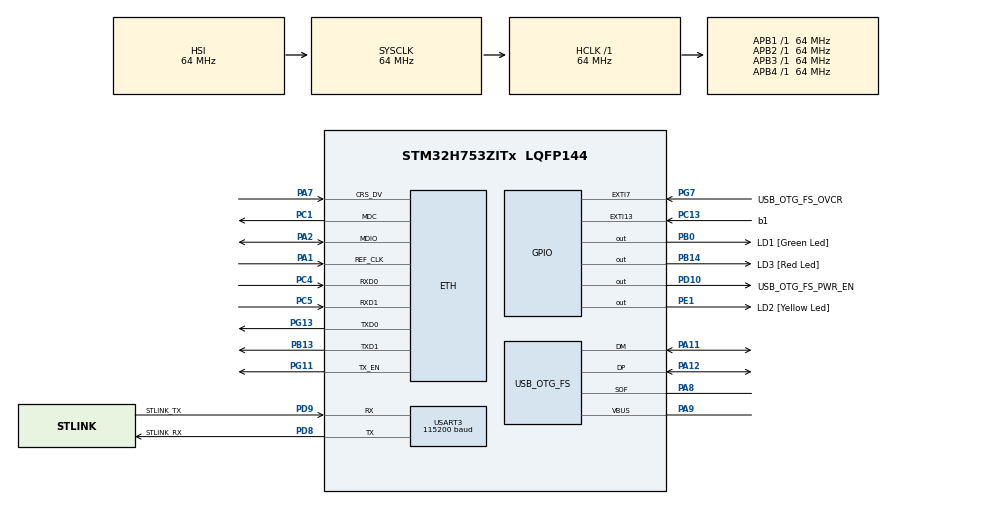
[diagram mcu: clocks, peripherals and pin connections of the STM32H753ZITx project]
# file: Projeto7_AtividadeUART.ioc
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CORTEX_M7.CPU_DCache=Disabled
CORTEX_M7.CPU_ICache=Disabled
CORTEX_M7.MPU_Control=__NULL
Dma.Request0=USART3_RX
Dma.Request1=USART3_TX
Dma.USART3_RX.0.Direction=DMA_PERIPH_TO_MEMORY
Dma.USART3_RX.0.EventEnable=DISABLE
Dma.USART3_RX.0.FIFOMode=DMA_FIFOMODE_DISABLE
Dma.USART3_RX.0.Instance=DMA1_Stream0
Dma.USART3_RX.0.MemDataAlignment=DMA_MDATAALIGN_BYTE
Dma.USART3_RX.0.MemInc=DMA_MINC_ENABLE
Dma.USART3_RX.0.Mode=DMA_NORMAL
Dma.USART3_RX.0.PeriphDataAlignment=DMA_PDATAALIGN_BYTE
Dma.USART3_RX.0.PeriphInc=DMA_PINC_DISABLE
Dma.USART3_RX.0.Polarity=HAL_DMAMUX_REQ_GEN_RISING
Dma.USART3_RX.0.Priority=DMA_PRIORITY_LOW
Dma.USART3_RX.0.RequestNumber=1
Dma.USART3_RX.0.SignalID=NONE
Dma.USART3_RX.0.SyncEnable=DISABLE
Dma.USART3_RX.0.SyncPolarity=HAL_DMAMUX_SYNC_NO_EVENT
Dma.USART3_RX.0.SyncRequestNumber=1
Dma.USART3_RX.0.SyncSignalID=NONE
Dma.USART3_TX.1.Direction=DMA_MEMORY_TO_PERIPH
Dma.USART3_TX.1.EventEnable=DISABLE
Dma.USART3_TX.1.FIFOMode=DMA_FIFOMODE_DISABLE
Dma.USART3_TX.1.Instance=DMA1_Stream1
Dma.USART3_TX.1.MemDataAlignment=DMA_MDATAALIGN_BYTE
Dma.USART3_TX.1.MemInc=DMA_MINC_ENABLE
Dma.USART3_TX.1.Mode=DMA_NORMAL
Dma.USART3_TX.1.PeriphDataAlignment=DMA_PDATAALIGN_BYTE
Dma.USART3_TX.1.PeriphInc=DMA_PINC_DISABLE
Dma.USART3_TX.1.Polarity=HAL_DMAMUX_REQ_GEN_RISING
Dma.USART3_TX.1.Priority=DMA_PRIORITY_LOW
Dma.USART3_TX.1.RequestNumber=1
Dma.USART3_TX.1.SignalID=NONE
Dma.USART3_TX.1.SyncEnable=DISABLE
Dma.USART3_TX.1.SyncPolarity=HAL_DMAMUX_SYNC_NO_EVENT
Dma.USART3_TX.1.SyncRequestNumber=1
Dma.USART3_TX.1.SyncSignalID=NONE
ETH.ETH_RX_DESC_CNT=4
ETH.ETH_TX_DESC_CNT=4
ETH.MACAddr=00\:80\:E1\:00\:00\:00
ETH.MediaInterface=HAL_ETH_RMII_MODE
ETH.RxBuffAddress=0x30040200
ETH.RxBuffLen=1524
ETH.RxDescAddress=0x30040000
ETH.TxDescAddress=0x30040060
Mcu.Family=STM32H7
Mcu.Name=STM32H753ZITx
Mcu.Package=LQFP144
NVIC.DMA1_Stream0_IRQn=true\:0\:0\:false\:false\:true\:false\:true\:true
NVIC.DMA1_Stream1_IRQn=true\:0\:0\:false\:false\:true\:false\:true\:true
NVIC.EXTI15_10_IRQn=true\:0\:0\:false\:false\:true\:true\:true\:true
NVIC.PriorityGroup=NVIC_PRIORITYGROUP_4
NVIC.USART3_IRQn=true\:0\:0\:false\:false\:true\:true\:true\:true
PA1.Mode=RMII
PA1.Signal=ETH_REF_CLK
PA11.Mode=Device_Only
PA11.Signal=USB_OTG_FS_DM
PA12.Mode=Device_Only
PA12.Signal=USB_OTG_FS_DP
PA2.Mode=RMII
PA2.Signal=ETH_MDIO
PA7.Mode=RMII
PA7.Signal=ETH_CRS_DV
PA8.Mode=Activate_SOF_FS
PA8.Signal=USB_OTG_FS_SOF
PA9.Mode=Activate_VBUS
PA9.Signal=USB_OTG_FS_VBUS
PB0.GPIO_Label=LD1 [Green Led]
PB0.Signal=GPIO_Output
PB13.Mode=RMII
PB13.Signal=ETH_TXD1
PB14.GPIO_Label=LD3 [Red Led]
PB14.Signal=GPIO_Output
PC1.Mode=RMII
PC1.Signal=ETH_MDC
PC13.GPIO_Label=b1
PC13.Signal=GPXTI13
PC14-OSC32_IN\ (OSC32_IN).Mode=LSE-External-Oscillator
PC14-OSC32_IN\ (OSC32_IN).Signal=RCC_OSC32_IN
PC15-OSC32_OUT\ (OSC32_OUT).Mode=LSE-External-Oscillator
PC15-OSC32_OUT\ (OSC32_OUT).Signal=RCC_OSC32_OUT
PC4.Mode=RMII
PC4.Signal=ETH_RXD0
PC5.Mode=RMII
PC5.Signal=ETH_RXD1
PD10.GPIO_Label=USB_OTG_FS_PWR_EN
PD10.Signal=GPIO_Output
PD8.GPIO_Label=STLINK_RX
PD8.Mode=Asynchronous
PD8.Signal=USART3_TX
PD9.GPIO_Label=STLINK_TX
PD9.Mode=Asynchronous
PD9.Signal=USART3_RX
PE1.GPIO_Label=LD2 [Yellow Led]
PE1.Signal=GPIO_Output
PG11.Mode=RMII
PG11.Signal=ETH_TX_EN
PG13.Mode=RMII
PG13.Signal=ETH_TXD0
PG7.GPIO_Label=USB_OTG_FS_OVCR
PG7.Signal=GPXTI7
PH0-OSC_IN\ (PH0).Mode=HSE-External-Clock-Source
PH0-OSC_IN\ (PH0).Signal=RCC_OSC_IN
PH1-OSC_OUT\ (PH1).Signal=RCC_OSC_OUT
ProjectManager.HeapSize=0x200
ProjectManager.StackSize=0x400
ProjectManager.TargetToolchain=STM32CubeIDE
RCC.ADCFreq_Value=16125000
RCC.APB1Freq_Value=64000000
RCC.APB2Freq_Value=64000000
RCC.APB3Freq_Value=64000000
RCC.APB4Freq_Value=64000000
RCC.CortexFreq_Value=64000000
RCC.DIVM1=1
RCC.DIVN1=24
RCC.DIVQ1=4
RCC.HCLKFreq_Value=64000000
RCC.HSE_VALUE=8000000
RCC.PLLFRACN=0
RCC.PWR_Regulator_Voltage_Scale=PWR_REGULATOR_VOLTAGE_SCALE2
RCC.SYSCLKFreq_VALUE=64000000
RCC.USBFreq_Value=48000000
USART3.AutoBaudRateEnableParam=UART_ADVFEATURE_AUTOBAUDRATE_DISABLE
USART3.BaudRate=115200
USART3.ClockPrescaler=PRESCALER_DIV1
USART3.DMADisableonRxErrorParam=ADVFEATURE_DMA_ENABLEONRXERROR
USART3.DataInvertParam=ADVFEATURE_DATAINV_DISABLE
USART3.FIFOMode=FIFOMODE_DISABLE
USART3.MSBFirstParam=ADVFEATURE_MSBFIRST_DISABLE
USART3.Mode=MODE_TX_RX
USART3.OneBitSampling=UART_ONE_BIT_SAMPLE_DISABLE
USART3.OverSampling=UART_OVERSAMPLING_16
USART3.OverrunDisableParam=ADVFEATURE_OVERRUN_ENABLE
USART3.Parity=PARITY_NONE
USART3.RXFIFOThreshold=RXFIFO_THRESHOLD_1EIGHTHFULL
USART3.RxPinLevelInvertParam=ADVFEATURE_RXINV_DISABLE
USART3.StopBits=STOPBITS_1
USART3.SwapParam=ADVFEATURE_SWAP_DISABLE
USART3.TXFIFOThreshold=TXFIFO_THRESHOLD_1EIGHTHFULL
USART3.TxPinLevelInvertParam=ADVFEATURE_TXINV_DISABLE
USART3.VirtualMode-Asynchronous=VM_ASYNC
USART3.WordLength=WORDLENGTH_8B
USB_OTG_FS.Sof_enable=ENABLE
USB_OTG_FS.VirtualMode=Device_Only
USB_OTG_FS.battery_charging_enable=ENABLE
USB_OTG_FS.low_power_enable=DISABLE
USB_OTG_FS.lpm_enable=DISABLE
USB_OTG_FS.use_dedicated_ep1=DISABLE
USB_OTG_FS.vbus_sensing_enable=ENABLE
board=NUCLEO-H753ZI

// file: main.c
/* USER CODE BEGIN Header */
/**
  ******************************************************************************
  * @file           : main.c
  * @brief          : Main program body
  ******************************************************************************
  * @attention
  *
  * Copyright (c) 2024 STMicroelectronics.
  * All rights reserved.
  *
  * This software is licensed under terms that can be found in the LICENSE file
  * in the root directory of this software component.
  * If no LICENSE file comes with this software, it is provided AS-IS.
  *
  ******************************************************************************
  */
/* USER CODE END Header */
#include "main.h"
#include "string.h"

#if defined ( __ICCARM__ ) /*!< IAR Compiler */
#pragma location=0x30040000
ETH_DMADescTypeDef  DMARxDscrTab[ETH_RX_DESC_CNT]; /* Ethernet Rx DMA Descriptors */
#pragma location=0x30040060
ETH_DMADescTypeDef  DMATxDscrTab[ETH_TX_DESC_CNT]; /* Ethernet Tx DMA Descriptors */

#elif defined ( __CC_ARM )  /* MDK ARM Compiler */

__attribute__((at(0x30040000))) ETH_DMADescTypeDef  DMARxDscrTab[ETH_RX_DESC_CNT]; /* Ethernet Rx DMA Descriptors */
__attribute__((at(0x30040060))) ETH_DMADescTypeDef  DMATxDscrTab[ETH_TX_DESC_CNT]; /* Ethernet Tx DMA Descriptors */

#elif defined ( __GNUC__ ) /* GNU Compiler */

ETH_DMADescTypeDef DMARxDscrTab[ETH_RX_DESC_CNT] __attribute__((section(".RxDecripSection"))); /* Ethernet Rx DMA Descriptors */
ETH_DMADescTypeDef DMATxDscrTab[ETH_TX_DESC_CNT] __attribute__((section(".TxDecripSection")));   /* Ethernet Tx DMA Descriptors */
#endif

ETH_TxPacketConfig TxConfig;

ETH_HandleTypeDef heth;

UART_HandleTypeDef huart3;

PCD_HandleTypeDef hpcd_USB_OTG_FS;

void SystemClock_Config(void);
static void MX_GPIO_Init(void);
static void MX_ETH_Init(void);
static void MX_USART3_UART_Init(void);
static void MX_USB_OTG_FS_PCD_Init(void);

/* USER CODE BEGIN 0 */

int counter = 0;
int ledStatus = 0;

char rx_buffer[5];
char execute_flag = '0';

char tabela[3][30] = {
    "Jonas, 123540 \r\n",
    "Bemielison, 405410 \r\n",
    "Teste, 758479 \r\n",
};

/* USER CODE END 0 */

int main(void)
{

  /* MCU Configuration--------------------------------------------------------*/

  /* Reset of all peripherals, Initializes the Flash interface and the Systick. */
  HAL_Init();

  /* Configure the system clock */
  SystemClock_Config();

  /* Initialize all configured peripherals */
  MX_GPIO_Init();
  MX_ETH_Init();
  MX_USART3_UART_Init();
  MX_USB_OTG_FS_PCD_Init();

  /* Infinite loop */
  /* USER CODE BEGIN WHILE */
  while (1)
  {
	  HAL_UART_Receive_IT(&huart3, rx_buffer, sizeof(rx_buffer));

	  ExecuteProgram();

    /* USER CODE END WHILE */

  }

}

void ExecuteProgram()
{
	if(execute_flag == '1'){
		SendCount();
	}
	else if(execute_flag == '2'){
		ClearCount();
	}
	else if(execute_flag == '3'){
		GetTable();
	}
	else if(execute_flag == '4'){
		BrickLed(GPIOB, GPIO_PIN_14);
	}
	else if(execute_flag == '5'){
		BrickLed(GPIOB, GPIO_PIN_0);
	}
	else if(execute_flag == '6'){
		BrickLed(GPIOE, GPIO_PIN_1);
	}
}

void SendCount()
{
	char counterMessage[5];
	snprintf(counterMessage, 3, "%d\r\n", counter);
	HAL_UART_Transmit_IT(&huart3, (uint8_t *)counterMessage, strlen(counterMessage));
	execute_flag = '0';
}

void ClearCount()
{
	counter = 0;
	char counterMessage[3];
	snprintf(counterMessage, 3, "%d\r\n", counter);
	HAL_UART_Transmit_IT(&huart3, (uint8_t *)counterMessage, strlen(counterMessage));
	execute_flag = '0';
}

void BrickLed(GPIO_TypeDef *porta, uint16_t portaPino)
{
	ledStatus = (ledStatus == 0) ? 1 : 0;
	HAL_GPIO_WritePin(porta, portaPino, ledStatus);
	execute_flag = '0';
}

void GetTable(){
	for (int i = 0; i < 3; i++) {
		HAL_UART_Transmit_IT(&huart3, (uint8_t *)tabela[i], strlen(tabela[i]));
		HAL_Delay(100);
	}
	execute_flag = '0';
}

void SystemClock_Config(void)
{
  RCC_OscInitTypeDef RCC_OscInitStruct = {0};
  RCC_ClkInitTypeDef RCC_ClkInitStruct = {0};

  /** Supply configuration update enable
  */
  HAL_PWREx_ConfigSupply(PWR_LDO_SUPPLY);

  /** Configure the main internal regulator output voltage
  */
  __HAL_PWR_VOLTAGESCALING_CONFIG(PWR_REGULATOR_VOLTAGE_SCALE2);

  while(!__HAL_PWR_GET_FLAG(PWR_FLAG_VOSRDY)) {}

  /** Initializes the RCC Oscillators according to the specified parameters
  * in the RCC_OscInitTypeDef structure.
  */
  RCC_OscInitStruct.OscillatorType = RCC_OSCILLATORTYPE_HSI|RCC_OSCILLATORTYPE_HSE;
  RCC_OscInitStruct.HSEState = RCC_HSE_BYPASS;
  RCC_OscInitStruct.HSIState = RCC_HSI_DIV1;
  RCC_OscInitStruct.HSICalibrationValue = RCC_HSICALIBRATION_DEFAULT;
  RCC_OscInitStruct.PLL.PLLState = RCC_PLL_ON;
  RCC_OscInitStruct.PLL.PLLSource = RCC_PLLSOURCE_HSE;
  RCC_OscInitStruct.PLL.PLLM = 1;
  RCC_OscInitStruct.PLL.PLLN = 24;
  RCC_OscInitStruct.PLL.PLLP = 2;
  RCC_OscInitStruct.PLL.PLLQ = 4;
  RCC_OscInitStruct.PLL.PLLR = 2;
  RCC_OscInitStruct.PLL.PLLRGE = RCC_PLL1VCIRANGE_3;
  RCC_OscInitStruct.PLL.PLLVCOSEL = RCC_PLL1VCOWIDE;
  RCC_OscInitStruct.PLL.PLLFRACN = 0;
  if (HAL_RCC_OscConfig(&RCC_OscInitStruct) != HAL_OK)
  {
    Error_Handler();
  }

  /** Initializes the CPU, AHB and APB buses clocks
  */
  RCC_ClkInitStruct.ClockType = RCC_CLOCKTYPE_HCLK|RCC_CLOCKTYPE_SYSCLK
                              |RCC_CLOCKTYPE_PCLK1|RCC_CLOCKTYPE_PCLK2
                              |RCC_CLOCKTYPE_D3PCLK1|RCC_CLOCKTYPE_D1PCLK1;
  RCC_ClkInitStruct.SYSCLKSource = RCC_SYSCLKSOURCE_HSI;
  RCC_ClkInitStruct.SYSCLKDivider = RCC_SYSCLK_DIV1;
  RCC_ClkInitStruct.AHBCLKDivider = RCC_HCLK_DIV1;
  RCC_ClkInitStruct.APB3CLKDivider = RCC_APB3_DIV1;
  RCC_ClkInitStruct.APB1CLKDivider = RCC_APB1_DIV1;
  RCC_ClkInitStruct.APB2CLKDivider = RCC_APB2_DIV1;
  RCC_ClkInitStruct.APB4CLKDivider = RCC_APB4_DIV1;

  if (HAL_RCC_ClockConfig(&RCC_ClkInitStruct, FLASH_LATENCY_1) != HAL_OK)
  {
    Error_Handler();
  }
}

static void MX_ETH_Init(void)
{

   static uint8_t MACAddr[6];

  heth.Instance = ETH;
  MACAddr[0] = 0x00;
  MACAddr[1] = 0x80;
  MACAddr[2] = 0xE1;
  MACAddr[3] = 0x00;
  MACAddr[4] = 0x00;
  MACAddr[5] = 0x00;
  heth.Init.MACAddr = &MACAddr[0];
  heth.Init.MediaInterface = HAL_ETH_RMII_MODE;
  heth.Init.TxDesc = DMATxDscrTab;
  heth.Init.RxDesc = DMARxDscrTab;
  heth.Init.RxBuffLen = 1524;

  if (HAL_ETH_Init(&heth) != HAL_OK)
  {
    Error_Handler();
  }

  memset(&TxConfig, 0 , sizeof(ETH_TxPacketConfig));
  TxConfig.Attributes = ETH_TX_PACKETS_FEATURES_CSUM | ETH_TX_PACKETS_FEATURES_CRCPAD;
  TxConfig.ChecksumCtrl = ETH_CHECKSUM_IPHDR_PAYLOAD_INSERT_PHDR_CALC;
  TxConfig.CRCPadCtrl = ETH_CRC_PAD_INSERT;

}

static void MX_USART3_UART_Init(void)
{

  huart3.Instance = USART3;
  huart3.Init.BaudRate = 115200;
  huart3.Init.WordLength = UART_WORDLENGTH_8B;
  huart3.Init.StopBits = UART_STOPBITS_1;
  huart3.Init.Parity = UART_PARITY_NONE;
  huart3.Init.Mode = UART_MODE_TX_RX;
  huart3.Init.HwFlowCtl = UART_HWCONTROL_NONE;
  huart3.Init.OverSampling = UART_OVERSAMPLING_16;
  huart3.Init.OneBitSampling = UART_ONE_BIT_SAMPLE_DISABLE;
  huart3.Init.ClockPrescaler = UART_PRESCALER_DIV1;
  huart3.AdvancedInit.AdvFeatureInit = UART_ADVFEATURE_NO_INIT;
  if (HAL_UART_Init(&huart3) != HAL_OK)
  {
    Error_Handler();
  }
  if (HAL_UARTEx_SetTxFifoThreshold(&huart3, UART_TXFIFO_THRESHOLD_1_8) != HAL_OK)
  {
    Error_Handler();
  }
  if (HAL_UARTEx_SetRxFifoThreshold(&huart3, UART_RXFIFO_THRESHOLD_1_8) != HAL_OK)
  {
    Error_Handler();
  }
  if (HAL_UARTEx_DisableFifoMode(&huart3) != HAL_OK)
  {
    Error_Handler();
  }

}

static void MX_USB_OTG_FS_PCD_Init(void)
{

  hpcd_USB_OTG_FS.Instance = USB_OTG_FS;
  hpcd_USB_OTG_FS.Init.dev_endpoints = 9;
  hpcd_USB_OTG_FS.Init.speed = PCD_SPEED_FULL;
  hpcd_USB_OTG_FS.Init.dma_enable = DISABLE;
  hpcd_USB_OTG_FS.Init.phy_itface = PCD_PHY_EMBEDDED;
  hpcd_USB_OTG_FS.Init.Sof_enable = ENABLE;
  hpcd_USB_OTG_FS.Init.low_power_enable = DISABLE;
  hpcd_USB_OTG_FS.Init.lpm_enable = DISABLE;
  hpcd_USB_OTG_FS.Init.battery_charging_enable = ENABLE;
  hpcd_USB_OTG_FS.Init.vbus_sensing_enable = ENABLE;
  hpcd_USB_OTG_FS.Init.use_dedicated_ep1 = DISABLE;
  if (HAL_PCD_Init(&hpcd_USB_OTG_FS) != HAL_OK)
  {
    Error_Handler();
  }

}

static void MX_GPIO_Init(void)
{
  GPIO_InitTypeDef GPIO_InitStruct = {0};

  /* GPIO Ports Clock Enable */
  __HAL_RCC_GPIOC_CLK_ENABLE();
  __HAL_RCC_GPIOH_CLK_ENABLE();
  __HAL_RCC_GPIOA_CLK_ENABLE();
  __HAL_RCC_GPIOB_CLK_ENABLE();
  __HAL_RCC_GPIOD_CLK_ENABLE();
  __HAL_RCC_GPIOG_CLK_ENABLE();
  __HAL_RCC_GPIOE_CLK_ENABLE();

  /*Configure GPIO pin Output Level */
  HAL_GPIO_WritePin(GPIOB, LD1_Pin|LD3_Pin, GPIO_PIN_RESET);

  /*Configure GPIO pin Output Level */
  HAL_GPIO_WritePin(USB_OTG_FS_PWR_EN_GPIO_Port, USB_OTG_FS_PWR_EN_Pin, GPIO_PIN_RESET);

  /*Configure GPIO pin Output Level */
  HAL_GPIO_WritePin(LD2_GPIO_Port, LD2_Pin, GPIO_PIN_RESET);

  /*Configure GPIO pin : B1_Pin */
  GPIO_InitStruct.Pin = B1_Pin;
  GPIO_InitStruct.Mode = GPIO_MODE_IT_RISING;
  GPIO_InitStruct.Pull = GPIO_NOPULL;
  HAL_GPIO_Init(B1_GPIO_Port, &GPIO_InitStruct);

  /*Configure GPIO pins : LD1_Pin LD3_Pin */
  GPIO_InitStruct.Pin = LD1_Pin|LD3_Pin;
  GPIO_InitStruct.Mode = GPIO_MODE_OUTPUT_PP;
  GPIO_InitStruct.Pull = GPIO_NOPULL;
  GPIO_InitStruct.Speed = GPIO_SPEED_FREQ_LOW;
  HAL_GPIO_Init(GPIOB, &GPIO_InitStruct);

  /*Configure GPIO pin : USB_OTG_FS_PWR_EN_Pin */
  GPIO_InitStruct.Pin = USB_OTG_FS_PWR_EN_Pin;
  GPIO_InitStruct.Mode = GPIO_MODE_OUTPUT_PP;
  GPIO_InitStruct.Pull = GPIO_NOPULL;
  GPIO_InitStruct.Speed = GPIO_SPEED_FREQ_LOW;
  HAL_GPIO_Init(USB_OTG_FS_PWR_EN_GPIO_Port, &GPIO_InitStruct);

  /*Configure GPIO pin : USB_OTG_FS_OVCR_Pin */
  GPIO_InitStruct.Pin = USB_OTG_FS_OVCR_Pin;
  GPIO_InitStruct.Mode = GPIO_MODE_IT_RISING;
  GPIO_InitStruct.Pull = GPIO_NOPULL;
  HAL_GPIO_Init(USB_OTG_FS_OVCR_GPIO_Port, &GPIO_InitStruct);

  /*Configure GPIO pin : LD2_Pin */
  GPIO_InitStruct.Pin = LD2_Pin;
  GPIO_InitStruct.Mode = GPIO_MODE_OUTPUT_PP;
  GPIO_InitStruct.Pull = GPIO_NOPULL;
  GPIO_InitStruct.Speed = GPIO_SPEED_FREQ_LOW;
  HAL_GPIO_Init(LD2_GPIO_Port, &GPIO_InitStruct);

  /* EXTI interrupt init*/
  HAL_NVIC_SetPriority(EXTI15_10_IRQn, 0, 0);
  HAL_NVIC_EnableIRQ(EXTI15_10_IRQn);

}

/* USER CODE BEGIN 4 */

void HAL_GPIO_EXTI_Callback(uint16_t GPIO_Pin)
{
  if (GPIO_Pin == GPIO_PIN_13)
  {
	  counter++;
  }
}

void HAL_UART_RxCpltCallback(UART_HandleTypeDef *huart)
{

  if (strncmp(rx_buffer, "Sends", 5) == 0) {
	  execute_flag = '1';
  }
  if (strncmp(rx_buffer, "Clear", 5) == 0) {
	  execute_flag = '2';
  }
  if (strncmp(rx_buffer, "Table", 5) == 0) {
	  execute_flag = '3';
  }
  if (strncmp(rx_buffer, "Led_R", 5) == 0) {
	  execute_flag = '4';
  }
  if (strncmp(rx_buffer, "Led_G", 5) == 0) {
	  execute_flag = '5';
  }
  if (strncmp(rx_buffer, "Led_B", 5) == 0) {
	  execute_flag = '6';
  }
}

/* USER CODE END 4 */

void Error_Handler(void)
{
  __disable_irq();
  while (1)
  {
  }
}
